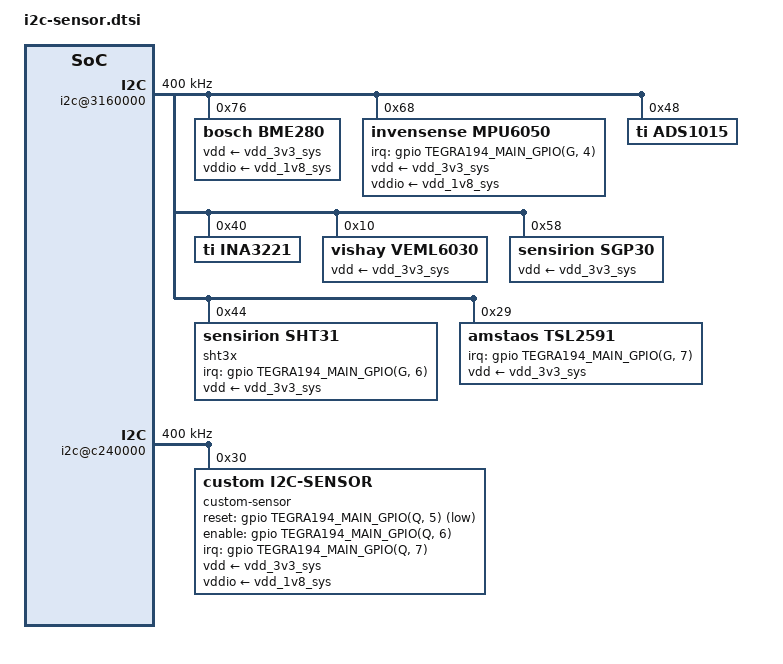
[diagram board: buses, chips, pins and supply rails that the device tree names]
/*
 * I2C Sensor Device Tree Include File for NVIDIA Jetson
 *
 * This file demonstrates:
 * - I2C bus configuration
 * - I2C device nodes for common sensors
 * - Clock and pinmux configuration
 * - Interrupt configuration
 * - Power supply references
 *
 * Compatible with: Jetson TX2, Xavier, Orin
 * Kernel: 5.10+
 *
 * Include this file in your main DTS:
 *   #include "i2c-sensor.dtsi"
 *
 * Or convert to overlay:
 *   dtc -@ -I dts -O dtb -o i2c-sensor.dtbo i2c-sensor.dtsi
 */

#include <dt-bindings/gpio/tegra194-gpio.h>
#include <dt-bindings/interrupt-controller/irq.h>

/* For other platforms, use appropriate headers:
 * TX2:   dt-bindings/gpio/tegra186-gpio.h
 * Nano:  dt-bindings/gpio/tegra210-gpio.h
 */

/ {
    /*
     * I2C Bus 1 Configuration
     * Typically I2C_GP1 on Jetson carrier boards
     */
    i2c@3160000 {
        compatible = "nvidia,tegra194-i2c";
        status = "okay";

        /* Bus speed: 100kHz (standard), 400kHz (fast), 1MHz (fast-plus) */
        clock-frequency = <400000>;

        /* DMA support (optional) */
        dmas = <&gpcdma 21>, <&gpcdma 21>;
        dma-names = "rx", "tx";

        /* Pinmux configuration reference */
        pinctrl-names = "default";
        pinctrl-0 = <&i2c1_pins>;

        /* Multi-master support */
        multi-master;

        /*
         * BME280: Temperature, Humidity, Pressure Sensor
         * Bosch Sensortec
         * Address: 0x76 or 0x77
         */
        bme280@76 {
            compatible = "bosch,bme280";
            reg = <0x76>;
            status = "okay";

            /* Power supply */
            vdd-supply = <&vdd_3v3_sys>;
            vddio-supply = <&vdd_1v8_sys>;
        };

        /*
         * BMP280: Pressure and Temperature Sensor
         * Bosch Sensortec
         * Address: 0x76 or 0x77
         */
        bmp280@77 {
            compatible = "bosch,bmp280";
            reg = <0x77>;
            status = "disabled";  /* Disabled to avoid conflict with BME280 */

            vdd-supply = <&vdd_3v3_sys>;
            vddio-supply = <&vdd_1v8_sys>;

            /* Interrupt pin (optional) */
            interrupt-parent = <&gpio>;
            interrupts = <TEGRA194_MAIN_GPIO(G, 3) IRQ_TYPE_EDGE_RISING>;
        };

        /*
         * MPU6050: 6-Axis Gyro + Accelerometer
         * InvenSense / TDK
         * Address: 0x68 or 0x69
         */
        mpu6050@68 {
            compatible = "invensense,mpu6050";
            reg = <0x68>;
            status = "okay";

            /* Interrupt pin for data ready */
            interrupt-parent = <&gpio>;
            interrupts = <TEGRA194_MAIN_GPIO(G, 4) IRQ_TYPE_EDGE_RISING>;

            /* Mounting matrix (sensor orientation) */
            mount-matrix = "1",  "0",  "0",
                          "0",  "1",  "0",
                          "0",  "0",  "1";

            vdd-supply = <&vdd_3v3_sys>;
            vddio-supply = <&vdd_1v8_sys>;
        };

        /*
         * MPU9250: 9-Axis IMU (Gyro + Accel + Magnetometer)
         * InvenSense / TDK
         * Address: 0x68 or 0x69
         */
        mpu9250@69 {
            compatible = "invensense,mpu9250";
            reg = <0x69>;
            status = "disabled";

            interrupt-parent = <&gpio>;
            interrupts = <TEGRA194_MAIN_GPIO(G, 5) IRQ_TYPE_EDGE_RISING>;

            i2c-gate {
                /* Internal I2C bus for magnetometer */
                #address-cells = <1>;
                #size-cells = <0>;

                ak8963@c {
                    compatible = "asahi-kasei,ak8963";
                    reg = <0x0c>;
                };
            };

            vdd-supply = <&vdd_3v3_sys>;
            vddio-supply = <&vdd_1v8_sys>;
        };

        /*
         * ADS1015: 12-bit 4-Channel ADC
         * Texas Instruments
         * Address: 0x48-0x4B (configurable)
         */
        ads1015@48 {
            compatible = "ti,ads1015";
            reg = <0x48>;
            status = "okay";

            #address-cells = <1>;
            #size-cells = <0>;

            /* Channel 0: Single-ended */
            channel@0 {
                reg = <0>;
                ti,gain = <1>;
                ti,datarate = <4>;
            };

            /* Channel 1: Single-ended */
            channel@1 {
                reg = <1>;
                ti,gain = <1>;
                ti,datarate = <4>;
            };

            /* Channel 2-3: Differential */
            channel@4 {
                reg = <4>;
                ti,gain = <1>;
                ti,datarate = <4>;
            };
        };

        /*
         * INA3221: Triple-Channel Current/Voltage Monitor
         * Texas Instruments
         * Address: 0x40-0x43 (configurable)
         */
        ina3221@40 {
            compatible = "ti,ina3221";
            reg = <0x40>;
            status = "okay";

            #address-cells = <1>;
            #size-cells = <0>;

            /* Channel 1: VDD_IN */
            input@0 {
                reg = <0>;
                label = "VDD_IN";
                shunt-resistor-micro-ohms = <10000>;  /* 10 mOhm */
            };

            /* Channel 2: VDD_CPU */
            input@1 {
                reg = <1>;
                label = "VDD_CPU";
                shunt-resistor-micro-ohms = <10000>;
            };

            /* Channel 3: VDD_GPU */
            input@2 {
                reg = <2>;
                label = "VDD_GPU";
                shunt-resistor-micro-ohms = <10000>;
            };
        };

        /*
         * PCA9685: 16-Channel 12-bit PWM Driver
         * NXP
         * Address: 0x40-0x7F (configurable)
         */
        pca9685@41 {
            compatible = "nxp,pca9685-pwm";
            reg = <0x41>;
            status = "disabled";

            #pwm-cells = <2>;

            /* External clock (optional) */
            /* clocks = <&pca9685_clk>; */

            /* Output enable GPIO */
            nxp,outdrv = <1>;  /* Totem-pole output */
            nxp,inverted-outputs;  /* Invert outputs if needed */
        };

        /*
         * VEML6030: Ambient Light Sensor
         * Vishay
         * Address: 0x10 or 0x48
         */
        veml6030@10 {
            compatible = "vishay,veml6030";
            reg = <0x10>;
            status = "okay";

            /* Power supply */
            vdd-supply = <&vdd_3v3_sys>;
        };

        /*
         * SGP30: Gas Sensor (TVOC and eCO2)
         * Sensirion
         * Address: 0x58
         */
        sgp30@58 {
            compatible = "sensirion,sgp30";
            reg = <0x58>;
            status = "okay";

            vdd-supply = <&vdd_3v3_sys>;
        };

        /*
         * SHT3x: Temperature and Humidity Sensor
         * Sensirion
         * Address: 0x44 or 0x45
         */
        sht3x@44 {
            compatible = "sensirion,sht31";
            reg = <0x44>;
            status = "okay";

            vdd-supply = <&vdd_3v3_sys>;

            /* Alert pin (optional) */
            interrupt-parent = <&gpio>;
            interrupts = <TEGRA194_MAIN_GPIO(G, 6) IRQ_TYPE_EDGE_FALLING>;
        };

        /*
         * TSL2591: Light-to-Digital Converter
         * AMS
         * Address: 0x29
         */
        tsl2591@29 {
            compatible = "amstaos,tsl2591";
            reg = <0x29>;
            status = "okay";

            /* Interrupt pin for threshold alerts */
            interrupt-parent = <&gpio>;
            interrupts = <TEGRA194_MAIN_GPIO(G, 7) IRQ_TYPE_EDGE_FALLING>;

            vdd-supply = <&vdd_3v3_sys>;
        };

        /*
         * EEPROM: 24C256 (256Kbit I2C EEPROM)
         * Generic
         * Address: 0x50-0x57 (configurable)
         */
        eeprom@50 {
            compatible = "atmel,24c256";
            reg = <0x50>;
            status = "disabled";

            pagesize = <64>;
            size = <32768>;  /* 256 Kbit = 32 KByte */
            address-width = <16>;

            /* Write protect GPIO */
            wp-gpios = <&gpio TEGRA194_MAIN_GPIO(P, 0) GPIO_ACTIVE_HIGH>;
        };

        /*
         * RTC: DS3231 (High-Precision RTC)
         * Maxim Integrated
         * Address: 0x68
         */
        rtc@68 {
            compatible = "maxim,ds3231";
            reg = <0x68>;
            status = "disabled";  /* Disabled to avoid conflict with MPU6050 */

            /* Interrupt pin for alarms */
            interrupt-parent = <&gpio>;
            interrupts = <TEGRA194_MAIN_GPIO(H, 0) IRQ_TYPE_EDGE_FALLING>;

            /* Wakeup source */
            wakeup-source;
        };
    };

    /*
     * I2C Bus 7 Configuration
     * Typically I2C_GP7 on Jetson carrier boards
     */
    i2c@c240000 {
        compatible = "nvidia,tegra194-i2c";
        status = "okay";

        clock-frequency = <400000>;

        pinctrl-names = "default";
        pinctrl-0 = <&i2c7_pins>;

        /*
         * Custom I2C Sensor Template
         */
        custom-sensor@30 {
            compatible = "custom,i2c-sensor";
            reg = <0x30>;
            status = "okay";

            /* Reset GPIO */
            reset-gpios = <&gpio TEGRA194_MAIN_GPIO(Q, 5) GPIO_ACTIVE_LOW>;

            /* Enable GPIO */
            enable-gpios = <&gpio TEGRA194_MAIN_GPIO(Q, 6) GPIO_ACTIVE_HIGH>;

            /* Interrupt */
            interrupt-parent = <&gpio>;
            interrupts = <TEGRA194_MAIN_GPIO(Q, 7) IRQ_TYPE_EDGE_RISING>;
            interrupt-names = "data-ready";

            /* Power supplies */
            vdd-supply = <&vdd_3v3_sys>;
            vddio-supply = <&vdd_1v8_sys>;

            /* Custom properties */
            max-speed = <1000000>;
            operating-mode = "continuous";
            sample-rate = <100>;

            /* Clock input (if needed) */
            clocks = <&bpmp_clks TEGRA194_CLK_OSC>;
            clock-names = "osc";
        };
    };

    /*
     * Pinmux Configuration for I2C
     */
    pinmux@2430000 {
        i2c1_pins: i2c1-pins {
            i2c1-scl-sda {
                nvidia,pins = "gen1_i2c_scl_pi3",
                             "gen1_i2c_sda_pi4";
                nvidia,function = "i2c1";
                nvidia,pull = <TEGRA_PIN_PULL_NONE>;
                nvidia,tristate = <TEGRA_PIN_DISABLE>;
                nvidia,enable-input = <TEGRA_PIN_ENABLE>;
                nvidia,open-drain = <TEGRA_PIN_ENABLE>;
                nvidia,io-high-voltage = <TEGRA_PIN_DISABLE>;
            };
        };

        i2c7_pins: i2c7-pins {
            i2c7-scl-sda {
                nvidia,pins = "gen7_i2c_scl_pl0",
                             "gen7_i2c_sda_pl1";
                nvidia,function = "i2c7";
                nvidia,pull = <TEGRA_PIN_PULL_NONE>;
                nvidia,tristate = <TEGRA_PIN_DISABLE>;
                nvidia,enable-input = <TEGRA_PIN_ENABLE>;
                nvidia,open-drain = <TEGRA_PIN_ENABLE>;
                nvidia,io-high-voltage = <TEGRA_PIN_DISABLE>;
            };
        };
    };
};

/*
 * Usage Notes:
 * ============
 *
 * 1. Include in main DTS:
 *    #include "i2c-sensor.dtsi"
 *
 * 2. Enable specific sensors:
 *    &bme280 {
 *        status = "okay";
 *    };
 *
 * 3. Override properties:
 *    &i2c@3160000 {
 *        clock-frequency = <100000>;
 *    };
 *
 * 4. Compile device tree:
 *    dtc -I dts -O dtb -o tegra194-custom.dtb tegra194-custom.dts
 *
 * 5. Scan I2C bus:
 *    sudo i2cdetect -y -r 1
 *
 * 6. Read sensor registers:
 *    sudo i2cdump -y 1 0x76
 *
 * 7. Read/Write single register:
 *    sudo i2cget -y 1 0x76 0xd0
 *    sudo i2cset -y 1 0x76 0xf4 0x27
 *
 * 8. Test sensor driver:
 *    cat /sys/bus/i2c/devices/1-0076/name
 *    cat /sys/bus/i2c/devices/1-0076/temp1_input
 *
 * 9. Debug I2C:
 *    dmesg | grep i2c
 *    cat /sys/class/i2c-adapter/i2c-1/name
 *    ls /sys/bus/i2c/devices/
 *
 * I2C Bus Numbers:
 * ================
 * Jetson Xavier NX:
 *   I2C1 (Gen1): bus 7
 *   I2C2 (Gen2): bus 1
 *   I2C3 (Gen3): bus 8
 *
 * Jetson Orin Nano:
 *   I2C1 (Gen1): bus 7
 *   I2C2 (Gen2): bus 1
 *   I2C3 (Gen3): bus 2
 *
 * Check actual bus numbers: ls /dev/i2c-*
 *
 * Common I2C Addresses:
 * =====================
 * 0x10: VEML6030
 * 0x29: TSL2591, VL6180X
 * 0x40: INA3221, PCA9685
 * 0x44-0x45: SHT3x
 * 0x48: ADS1015, TMP102
 * 0x50-0x57: EEPROM (24Cxx)
 * 0x58: SGP30
 * 0x68-0x69: MPU6050, MPU9250, DS3231
 * 0x76-0x77: BMP280, BME280
 *
 * Troubleshooting:
 * ================
 * - No device detected:
 *   - Check wiring (SDA, SCL, GND, VDD)
 *   - Verify pull-up resistors (typically 4.7kΩ)
 *   - Check device address (A0/A1/A2 pins)
 *   - Verify voltage levels (3.3V vs 1.8V)
 *
 * - Communication errors:
 *   - Reduce I2C speed (clock-frequency)
 *   - Check signal quality with oscilloscope
 *   - Verify pinmux configuration
 *   - Check for bus conflicts
 *
 * - Driver not loading:
 *   - Verify compatible string in driver
 *   - Check module is loaded: lsmod
 *   - Check kernel config: CONFIG_I2C=y
 *   - Review dmesg for errors
 */
